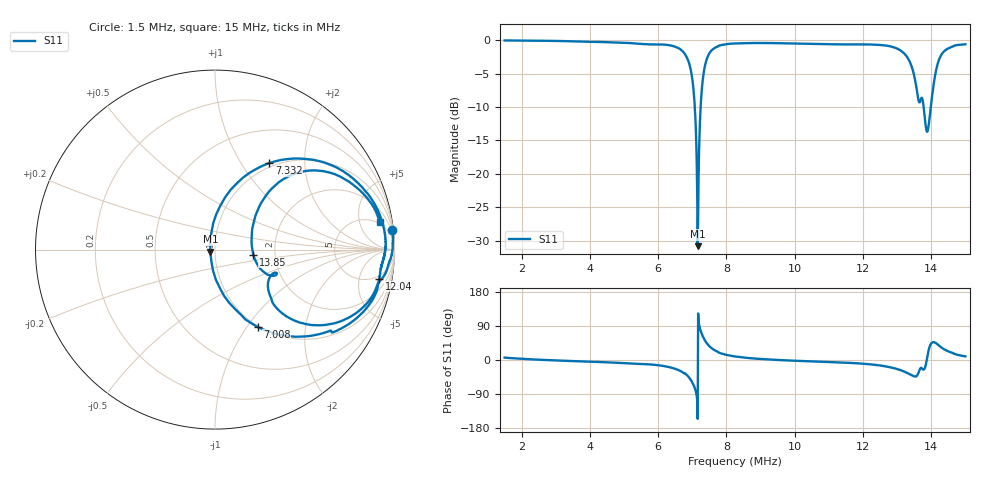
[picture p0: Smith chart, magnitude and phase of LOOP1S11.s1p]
!File created by NanoVNA
# Hz S RI R 50
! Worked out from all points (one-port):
!   1001 points, 1.5 MHz to 15 MHz, reference 50 ohm
!   lowest |S11| = -30.8 dB at 7.157 MHz (marker M1), VSWR 1.06, Z = 47.4 - j1.14 ohm
!   |S11| at or under -10 dB: 7.072 MHz to 7.243 MHz (171.5 kHz wide, 2.4 % of centre); 13.78 MHz to 13.99 MHz (209.9 kHz wide, 1.51 % of centre)
!   S11 on the Smith chart (normalised r, x): 1.5 MHz: 1, +18; 7.008 MHz: 0.99, -1.12; 7.332 MHz: 0.94, +1.34; 12.04 MHz: 4, -10; 13.85 MHz: 1.54, -0.09; 15 MHz: 4, +10
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1500000  0.9889 0.1089
3187500  0.9837 -0.0301
4875000  0.9508 -0.1278
5928000  0.9065 -0.2088
6562500  0.7934 -0.3781
6819000  0.5979 -0.4668
7008000  0.237 -0.431
7062000  0.1102 -0.3297
7116000  0.00455 -0.1673
7156500  -0.026 -0.012
7197000  -0.00949 0.1489
7264500  0.1196 0.367
7332000  0.3016 0.4817
7480500  0.6153 0.4827
7642500  0.7795 0.3867
8250000  0.9314 0.1526
9937500  0.9443 -0.0272
1.1625e7  0.9208 -0.1238
1.20435e7  0.9148 -0.1619
1.284e7  0.8393 -0.3073
1.33125e7  0.6016 -0.4206
1.3569e7  0.3202 -0.295
1.38525e7  0.2132 -0.0276
1.392e7  0.2055 0.0952
1.4001e7  0.245 0.2362
1.42035e7  0.5262 0.4402
1.4487e7  0.7943 0.3408
1.5e7  0.9183 0.1545
